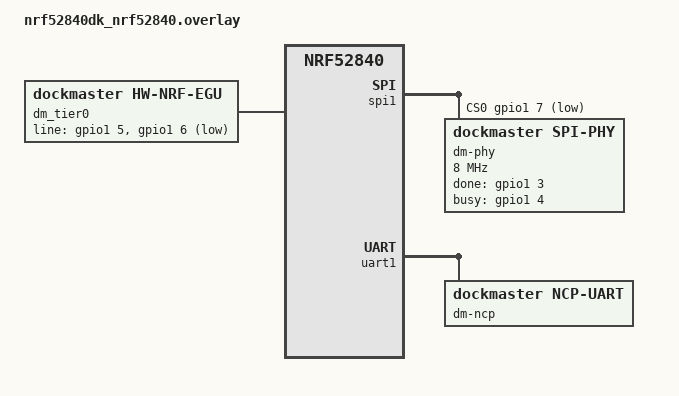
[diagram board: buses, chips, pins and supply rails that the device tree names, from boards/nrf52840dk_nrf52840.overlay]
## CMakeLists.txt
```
# Copyright (c) 2026 Nurzaman
# SPDX-License-Identifier: Apache-2.0

cmake_minimum_required(VERSION 3.20.0)
find_package(Zephyr REQUIRED HINTS $ENV{ZEPHYR_BASE})
project(dm_build_drivers)

target_sources(app PRIVATE src/main.c)
```

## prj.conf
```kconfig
CONFIG_DOCKMASTER=y
CONFIG_SPI=y
CONFIG_GPIO=y
CONFIG_SERIAL=y
CONFIG_UART_INTERRUPT_DRIVEN=y
CONFIG_LOG=y
CONFIG_ASSERT=y
```

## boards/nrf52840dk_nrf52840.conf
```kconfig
# Minimum for net_pkt allocation by the 802.15.4 link, with Dockmaster as
# the radio's only user: networking core plus the radio in raw mode
# (net_pkt.c is all that is built of the net stack).
CONFIG_NETWORKING=y
CONFIG_IEEE802154=y
CONFIG_IEEE802154_RAW_MODE=y

# Tier 0 on PPI.
CONFIG_DM_TIER_HW_NRF=y
```

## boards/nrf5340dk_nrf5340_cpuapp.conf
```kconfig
# Tier 0 on DPPI. The app core has no 802.15.4 radio of its own.
CONFIG_DM_TIER_HW_NRF=y
```

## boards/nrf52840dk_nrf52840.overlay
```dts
/*
 * Copyright (c) 2026 Nurzaman
 * SPDX-License-Identifier: Apache-2.0
 *
 * All three link drivers on one nRF52840 DK (build only): the on-chip
 * 802.15.4 radio, an SPI PHY with tier 0 class lines on PPI + EGU, and a
 * co-processor on uart1 (P1.01 RX, P1.02 TX).
 */

#include <zephyr/dt-bindings/gpio/gpio.h>

/ {
	dm-radio {
		compatible = "dockmaster,link";
		backend = <&ieee802154>;
		tier = "mac";
	};

	dm_tier0: dm-tier0 {
		compatible = "dockmaster,hw-nrf-egu";
		egu-instances = <2 3>;
		gpiote-channels = <6 7>;
		line-gpios = <&gpio1 5 GPIO_ACTIVE_HIGH>, <&gpio1 6 GPIO_ACTIVE_LOW>;
	};
};

&spi1 {
	status = "okay";
	cs-gpios = <&gpio1 7 GPIO_ACTIVE_LOW>;

	dm-phy@0 {
		compatible = "dockmaster,spi-phy";
		reg = <0>;
		spi-max-frequency = <8000000>;
		done-gpios = <&gpio1 3 GPIO_ACTIVE_HIGH>;
		busy-gpios = <&gpio1 4 GPIO_ACTIVE_HIGH>;
		bitrate-bps = <250000>;
		tier = "hw";
		class-line-pins = <1 2>;
		hw-backend = <&dm_tier0>;
	};
};

&uart1 {
	status = "okay";

	dm-ncp {
		compatible = "dockmaster,ncp-uart";
		probe-period-ms = <30000>;
	};
};
```

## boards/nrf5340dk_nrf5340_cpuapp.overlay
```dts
/*
 * Copyright (c) 2026 Nurzaman
 * SPDX-License-Identifier: Apache-2.0
 *
 * SPI PHY with tier 0 class lines on DPPI + EGU, and a co-processor on
 * uart1, on the nRF5340 DK application core (build only). The PHY uses
 * the Arduino SPI bus (spi4, CS on D10) and D2 to D5 for its pins.
 */

#include <zephyr/dt-bindings/gpio/gpio.h>

/ {
	dm_tier0: dm-tier0 {
		compatible = "dockmaster,hw-nrf-egu";
		egu-instances = <2 3>;
		gpiote-channels = <6 7>;
		line-gpios = <&gpio1 6 GPIO_ACTIVE_HIGH>, <&gpio1 7 GPIO_ACTIVE_HIGH>;
	};
};

&spi4 {
	dm-phy@0 {
		compatible = "dockmaster,spi-phy";
		reg = <0>;
		spi-max-frequency = <8000000>;
		done-gpios = <&gpio1 4 GPIO_ACTIVE_HIGH>;
		busy-gpios = <&gpio1 5 GPIO_ACTIVE_HIGH>;
		bitrate-bps = <50000>;
		preamble-us = <1000>;
		tier = "hw";
		class-line-pins = <1 2>;
		hw-backend = <&dm_tier0>;
	};
};

&uart1 {
	status = "okay";

	dm-ncp {
		compatible = "dockmaster,ncp-uart";
	};
};
```

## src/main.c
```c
/*
 * Copyright (c) 2026 Nurzaman
 * SPDX-License-Identifier: Apache-2.0
 *
 * Build-only test: every reference link driver and the nRF tier 0 backend
 * must compile and link for real hardware targets. The asserts fail the
 * build if a driver silently drops out because a dependency is missing.
 */

#include <zephyr/kernel.h>

#include <dockmaster/dm_link.h>

BUILD_ASSERT(IS_ENABLED(CONFIG_DM_LINK_SPI_PHY), "SPI PHY driver not built");
BUILD_ASSERT(IS_ENABLED(CONFIG_DM_LINK_NCP_UART), "NCP UART driver not built");
BUILD_ASSERT(IS_ENABLED(CONFIG_DM_TIER_HW_NRF), "nRF tier 0 backend not built");
BUILD_ASSERT(!DT_HAS_COMPAT_STATUS_OKAY(dockmaster_link) || IS_ENABLED(CONFIG_DM_LINK_IEEE802154),
	     "IEEE 802.15.4 driver not built");

#if defined(CONFIG_IEEE802154_RAW_MODE)
#include <zephyr/net/ieee802154_radio.h>
#include <zephyr/net/net_pkt.h>

/*
 * Raw mode: the radio driver hands received frames and ACKs to these two
 * functions instead of a net stack. Reception is outside Dockmaster, so
 * this test just drops them.
 */
int net_recv_data(struct net_if *iface, struct net_pkt *pkt)
{
	ARG_UNUSED(iface);
	net_pkt_unref(pkt);
	return 0;
}

enum net_verdict ieee802154_handle_ack(struct net_if *iface, struct net_pkt *pkt)
{
	ARG_UNUSED(iface);
	ARG_UNUSED(pkt);
	return NET_CONTINUE;
}
#endif

int main(void)
{
	printk("dockmaster drivers: %u link(s) registered\n", dm_link_count());
	return 0;
}
```
